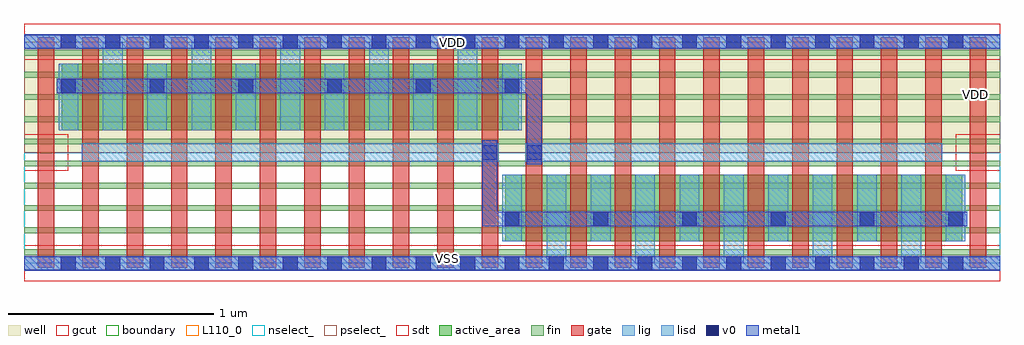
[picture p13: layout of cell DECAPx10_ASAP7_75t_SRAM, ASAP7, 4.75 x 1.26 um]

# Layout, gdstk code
import gdstk
lib = gdstk.Library(unit=1e-6, precision=2.5e-10)
def R(c, l, rs):  # rectangles x0, y0, x1, y1
    for r in rs: c.add(gdstk.rectangle(r[:2], r[2:], *l))
def A(c, l, x, y, w, h, nx, ny, dx, dy):  # array of equal rectangles
    R(c, l, [(x+i*dx, y+j*dy, x+i*dx+w, y+j*dy+h) for i in range(nx) for j in range(ny)])
def P(c, l, *ps):  # polygons
    for p in ps: c.add(gdstk.Polygon(p, *l))
well = (1, 0)
fin = (2, 0)
gate = (7, 0)
gcut = (10, 0)
active_area = (11, 0)
nselect_ = (12, 0)
pselect_ = (13, 0)
lig = (16, 0)
lisd = (17, 0)
v0 = (18, 0)
metal1 = (19, 0)
sdt = (88, 0)
boundary = (100, 0)
L110_0 = (110, 0)

decapx10_asap7_75t_sram = lib.new_cell('DECAPx10_ASAP7_75t_SRAM')
R(decapx10_asap7_75t_sram, well, [(0,0.54,4.752,1.08)])
A(decapx10_asap7_75t_sram, fin, 0, 0.04, 4.752, 0.028, 1, 10, 0, 0.108)
A(decapx10_asap7_75t_sram, gate, 0.068, -0.02, 0.08, 1.12, 22, 1, 0.216, 0)
R(decapx10_asap7_75t_sram, gcut, [(0,-0.088,4.752,0.088), (0,0.452,0.216,0.628), (4.536,0.452,4.752,0.628), (0,0.992,4.752,1.168)])
R(decapx10_asap7_75t_sram, active_area, [(2.344,0.108,4.568,0.432), (0.184,0.648,2.408,0.972)])
R(decapx10_asap7_75t_sram, nselect_, [(0,0,4.752,0.54)])
R(decapx10_asap7_75t_sram, pselect_, [(0,0.54,4.752,1.08)])
R(decapx10_asap7_75t_sram, lig, [(0,-0.032,4.752,0.032), (0.28,0.496,2.312,0.584), (2.44,0.496,4.472,0.584), (0,1.048,4.752,1.112)])
A(decapx10_asap7_75t_sram, lisd, 2.544, 0, 0.096, 0.432, 5, 1, 0.432, 0)
A(decapx10_asap7_75t_sram, lisd, 2.328, 0.108, 0.096, 0.324, 6, 1, 0.432, 0)
A(decapx10_asap7_75t_sram, lisd, 0.168, 0.648, 0.096, 0.324, 6, 1, 0.432, 0)
A(decapx10_asap7_75t_sram, lisd, 0.384, 0.648, 0.096, 0.432, 5, 1, 0.432, 0)
A(decapx10_asap7_75t_sram, v0, 0.18, -0.036, 0.072, 0.072, 21, 2, 0.216, 1.08)
A(decapx10_asap7_75t_sram, v0, 2.34, 0.18, 0.072, 0.072, 6, 1, 0.432, 0)
A(decapx10_asap7_75t_sram, v0, 0.18, 0.828, 0.072, 0.072, 6, 1, 0.432, 0)
R(decapx10_asap7_75t_sram, v0, [(2.232,0.504,2.304,0.576), (2.448,0.504,2.52,0.576)])
R(decapx10_asap7_75t_sram, metal1, [(0,-0.036,4.752,0.036), (0,1.044,4.752,1.116)])
P(decapx10_asap7_75t_sram, metal1, [(4.592,0.252),(2.304,0.252),(2.304,0.6),(2.232,0.6),(2.232,0.18),(4.592,0.18)],
  [(2.52,0.9),(0.16,0.9),(0.16,0.828),(2.448,0.828),(2.448,0.484),(2.52,0.484)])
A(decapx10_asap7_75t_sram, sdt, 2.328, 0.108, 0.096, 0.324, 11, 1, 0.216, 0)
A(decapx10_asap7_75t_sram, sdt, 0.168, 0.648, 0.096, 0.324, 11, 1, 0.216, 0)
R(decapx10_asap7_75t_sram, boundary, [(0,0,4.752,1.08)])
R(decapx10_asap7_75t_sram, L110_0, [(0,0,4.752,1.08)])
decapx10_asap7_75t_sram.add(gdstk.Label('VSS', (4.88,0.836), layer=3, texttype=251))
decapx10_asap7_75t_sram.add(gdstk.Label('VDD', (4.632,0.824), layer=1, texttype=251))
decapx10_asap7_75t_sram.add(gdstk.Label('VSS', (2.06,0.024), layer=19, texttype=251))
decapx10_asap7_75t_sram.add(gdstk.Label('VDD', (2.088,1.078), layer=19, texttype=251))

lib.write_gds('DECAPx10_ASAP7_75t_SRAM.gds')
